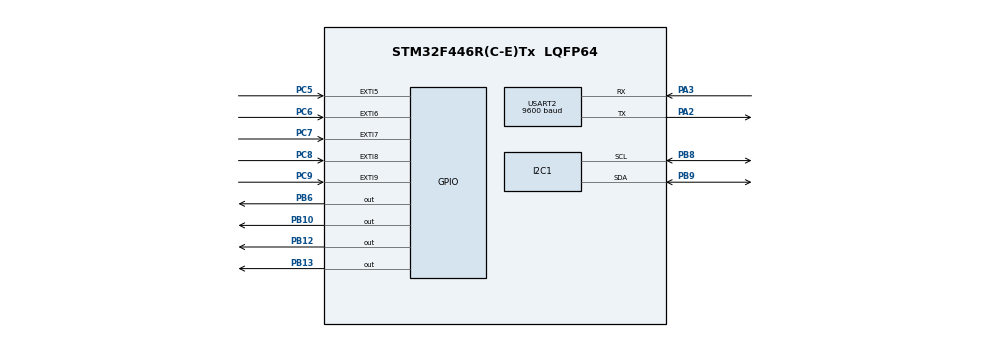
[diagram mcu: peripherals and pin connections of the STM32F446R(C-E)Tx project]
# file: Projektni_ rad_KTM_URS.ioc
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Mcu.Family=STM32F4
Mcu.Name=STM32F446R(C-E)Tx
Mcu.Package=LQFP64
NVIC.EXTI9_5_IRQn=true\:3\:0\:true\:false\:true\:true\:true\:true
NVIC.PriorityGroup=NVIC_PRIORITYGROUP_4
NVIC.TIM6_DAC_IRQn=true\:3\:0\:true\:false\:true\:true\:true\:true
PA13.Mode=Serial_Wire
PA13.Signal=SYS_JTMS-SWDIO
PA14.Mode=Serial_Wire
PA14.Signal=SYS_JTCK-SWCLK
PA2.Mode=Asynchronous
PA2.Signal=USART2_TX
PA3.Mode=Asynchronous
PA3.Signal=USART2_RX
PB10.GPIO_ModeDefaultOutputPP=GPIO_MODE_OUTPUT_OD
PB10.GPIO_PuPd=GPIO_NOPULL
PB10.Signal=GPIO_Output
PB12.GPIO_ModeDefaultOutputPP=GPIO_MODE_OUTPUT_OD
PB12.GPIO_PuPd=GPIO_NOPULL
PB12.Signal=GPIO_Output
PB13.GPIO_ModeDefaultOutputPP=GPIO_MODE_OUTPUT_OD
PB13.GPIO_PuPd=GPIO_NOPULL
PB13.Signal=GPIO_Output
PB6.GPIO_ModeDefaultOutputPP=GPIO_MODE_OUTPUT_OD
PB6.GPIO_PuPd=GPIO_NOPULL
PB6.Signal=GPIO_Output
PB8.Mode=I2C
PB8.Signal=I2C1_SCL
PB9.Mode=I2C
PB9.Signal=I2C1_SDA
PC5.GPIO_ModeDefaultEXTI=GPIO_MODE_IT_FALLING
PC5.GPIO_PuPd=GPIO_PULLUP
PC5.Signal=GPXTI5
PC6.GPIO_ModeDefaultEXTI=GPIO_MODE_IT_FALLING
PC6.GPIO_PuPd=GPIO_PULLUP
PC6.Signal=GPXTI6
PC7.GPIO_ModeDefaultEXTI=GPIO_MODE_IT_FALLING
PC7.GPIO_PuPd=GPIO_PULLUP
PC7.Signal=GPXTI7
PC8.GPIO_ModeDefaultEXTI=GPIO_MODE_IT_FALLING
PC8.GPIO_PuPd=GPIO_PULLUP
PC8.Signal=GPXTI8
PC9.GPIO_ModeDefaultEXTI=GPIO_MODE_IT_FALLING
PC9.GPIO_PuPd=GPIO_PULLUP
PC9.Signal=GPXTI9
ProjectManager.HeapSize=0x200
ProjectManager.StackSize=0x400
ProjectManager.TargetToolchain=STM32CubeIDE
RCC.CortexFreq_Value=16000000
RCC.USBFreq_Value=96000000
RCC.VCOOutputFreq_Value=192000000
TIM6.Period=99
TIM6.Prescaler=15999
USART2.BaudRate=9600
USART2.VirtualMode=VM_ASYNC
VP_TIM6_VS_ClockSourceINT.Mode=Enable_Timer
board=custom

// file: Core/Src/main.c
/* USER CODE BEGIN Header */
/**
  ******************************************************************************
  * @file           : main.c
  * @brief          : Main program body
  ******************************************************************************
  * @attention
  *
  * Copyright (c) 2025 STMicroelectronics.
  * All rights reserved.
  *
  * This software is licensed under terms that can be found in the LICENSE file
  * in the root directory of this software component.
  * If no LICENSE file comes with this software, it is provided AS-IS.
  *
  ******************************************************************************
  */
/* USER CODE END Header */
#include "main.h"
#include "i2c.h"
#include "tim.h"
#include "usart.h"
#include "gpio.h"

/* USER CODE BEGIN Includes */
#include <stdio.h>
#include <math.h>

#define	SMJER	GPIO_PIN_12	// NEMA 23 SMJER 12
#define	PULS	GPIO_PIN_13	// NEMA 23 PULS 13
#define SMJER1	GPIO_PIN_10	// NEMA 17 SMJER 10
#define PULS1	GPIO_PIN_6	// NEMA 17 PULS 6

#define	RAD_TO_DEG	57.297469 // pretvorba radijana u stupnjeve
#define DEG_TO_RAD	0.0174528 // pretvorba stupnjeva u radijane

#define	BRZINA_DELAY	25 // delay koji regulira brzinu koračnih motora

#define	KRAK	490 // duljina od osi NEMA 23 do osi NEMA 17
#define X0_U_X1	75	// pomak po osi x od ishodišta koord. sustava za unos do ishodišta k. sustava kretanja tereta
#define	Z0_U_Z1	-100	// pomak po osi z od ishodišta koord. sustava za unos do ishodišta k. sustava kretanja tereta
#define R_KOLOT	10	// radijus kolotura na NEMA 17 motoru
#define BLIZINA_DIZALICI	60 // najmanja sigurna vrijednost osi x bez kolizije s dizalicom
#define BLIZINA_MOTORU	50	// najveća sigurna udaljenost tereta od motora NEMA 17

#define	N23_1PULS_DEG	0.09	// iznos za koji se okrene reduktor za 1 puls NEMA 23 motora u stupnjevima
#define N17_1PULS_MM	0.1570796	// iznos pomaka tereta za jedan puls NEMA 17 motora u mm

#define	ADRESA	0x27	// I2C adresa PCF8754 modula
#define	SUCELJE	0x38	//
#define INITIAL	0x03
#define	BIT_4	0x02
#define	EKRAN_0	0x00
#define	CISTI	0x01
#define	KURSOR	0x04
#define	UKLJUCI	0x0F
#define	POCETAK	0x02

#define PRVA_L	0x80	// naredba postavljanje na prvi stupac u prvom retku LCD-a
#define	DRUGA_L	0xC0	// naredba postavljanje na prvi stupac u drugom retku LCD-a
#define	TRECA_L	0x94	// naredba postavljanje na prvi stupac u trećem retku LCD-a
#define CETVR_L	0xD4	// naredba postavljanje na prvi stupac u četvrtom retku LCD-a

#ifdef __GNUC__
#define PUTCHAR_PROTOTYPE int __io_putchar(int ch)
#define GETCHAR_PROTOTYPE int __io_getchar(void)
#else
#define PUTCHAR_PROTOTYPE int fputc(int ch, FILE *f)
#define GETCHAR_PROTOTYPE int fgetc(FILE *f)
#endif
PUTCHAR_PROTOTYPE	// slanje informacija preko USART2
{
	HAL_UART_Transmit(&huart2, (uint8_t*) &ch, 1, HAL_MAX_DELAY);
	return ch;
}
GETCHAR_PROTOTYPE	// prihvaćanje informacija preko USART2
{
	uint8_t ch = 0;
	__HAL_UART_CLEAR_OREFLAG(&huart2);
	HAL_UART_Receive(&huart2, (uint8_t*) &ch, 1, HAL_MAX_DELAY);
	return ch;
}
/* USER CODE END Includes */

/* USER CODE BEGIN PV */
static uint16_t pritisnut_pin = 0;	// varijabla koja prati koji je interrupt pin pritisnut
uint8_t zastava = 0;	// pomocna varijabla za kontroliranje dizalice
/* USER CODE END PV */

void SystemClock_Config(void);

/* USER CODE BEGIN 0 */
void broj_u_string(short broj, char *string, char tren_ili_cilj, char x_ili_z)
{
	if(!tren_ili_cilj)	// određuje je li se ispisuje tekst za trenutnu ili ciljanu koordinatu
	{
		string[0] = 'T';
		string[1] = 'R';
		string[2] = 'E';
		string[3] = 'N';
		string[4] = 'U';
		string[5] = 'T';
		string[6] = 'N';
		string[7] = 'I';
		string[8] = ' ';
		string[9] = (x_ili_z) ? 'Z' : 'X';	// određuje ispisuje li se za x ili z os
		string[10] = ':';
	}
	else
	{
		string[0] = 'C';
		string[1] = 'I';
		string[2] = 'L';
		string[3] = 'J';
		string[4] = 'A';
		string[5] = 'N';
		string[6] = 'I';
		string[7] = ' ';
		string[8] = (x_ili_z) ? 'Z' : 'X';
		string[9] = ':';
		string[10] = ' ';
	}

	for(int i = 11; i < 14; i++)	// ispisuje razmake u sredini
	{
		string[i] = ' ';
	}

	for(int i = 16; i >= 14; i--)	// pretvara brojeve u ASCII znakove i sprema ih u string
	{
		string[i] = (broj%10) + '0';
		broj /= 10;
	}

	string[17] = ' ';	// dodaje mm na kraju stringa
	string[18] = 'm';
	string[19] = 'm';
}

void lcd_naredba(char podatak)
{
	unsigned char podaci[4], hi, lo; // pomocne varijable za slanje naredbi na LCD

	hi = podatak & 0xF0;	// podjela bajta naredbe na nibbleove
	lo = (podatak << 4) & 0xF0;

	podaci[0] = hi | 0x0C;	// D7, D6, D5, D4, LED = 1, E = 1, R/!W = 0, RS = 0
	podaci[1] = hi | 0x08;	// D7, D6, D5, D4, LED = 1, E = 0, R/!W = 0, RS = 0
	podaci[2] = lo | 0x0C;	// D3, D2, D1, D0, LED = 1, E = 1, R/!W = 0, RS = 0
	podaci[3] = lo | 0x08;	// D3, D2, D1, D0, LED = 1, E = 0, R/!W = 0, RS = 0

	HAL_I2C_Master_Transmit(&hi2c1, ADRESA<<1, podaci, 4, 100); // slanje naredbe na LCD
}

void lcd_podatak(char podatak)
{
	unsigned char podaci[4], hi, lo; // pomocne varijable za slanje podatka na LCD

	hi = podatak & 0xF0;	// podjela bajta podatka na nibbleove
	lo = (podatak << 4) & 0xF0;

	podaci[0] = hi | 0x0D;	// D7, D6, D5, D4, LED = 1, E = 1, R/!W = 0, RS = 1
	podaci[1] = hi | 0x09;	// D7, D6, D5, D4, LED = 1, E = 0, R/!W = 0, RS = 1
	podaci[2] = lo | 0x0D;	// D3, D2, D1, D0, LED = 1, E = 1, R/!W = 0, RS = 1
	podaci[3] = lo | 0x09;	// D3, D2, D1, D0, LED = 1, E = 0, R/!W = 0, RS = 1

	HAL_I2C_Master_Transmit(&hi2c1, ADRESA<<1, podaci, 4, 100);	// slanje podatka na LCD
}

void lcd_string(char podatak[20], uint8_t red)
{
	switch (red){	// određuje u koji red treba doći
	case 1: lcd_naredba(PRVA_L); break;
	case 2: lcd_naredba(DRUGA_L); break;
	case 3: lcd_naredba(TRECA_L); break;
	case 4: lcd_naredba(CETVR_L); break;
	default: lcd_naredba(PRVA_L); break;
	}

	for(int i = 0; i < 20; i++){	// šalje svaki znak stringa na LCD
		lcd_podatak(podatak[i]);
	}

	HAL_Delay(5);
}

void nema23_korak_1_puls(char smjer) // 0.9 stupnja na motoru, 0.09 stupnja na reduktoru
{
	HAL_GPIO_WritePin(GPIOB, SMJER, smjer);	// određuje smjer motora
	HAL_Delay(1);
	HAL_GPIO_WritePin(GPIOB, PULS, 0);	// daje impuls upravljaču motora
	HAL_Delay(1);
	HAL_GPIO_WritePin(GPIOB, PULS, 1);
	HAL_Delay(1);

	HAL_Delay(BRZINA_DELAY);	// delay zbog ograničavanja brzine
}

void nema23_korak_1_deg(char smjer) // 9.9 stupnja na motoru, 0.99 stupnja na reduktoru
{
	HAL_GPIO_WritePin(GPIOB, SMJER, smjer);	// određuje smjer motora
	HAL_Delay(1);

	for(int i = 0; i < 11; i++)	// daje 11 impulsa upravljaču motora
	{
		HAL_GPIO_WritePin(GPIOB, PULS, 0);
		HAL_Delay(1);
		HAL_GPIO_WritePin(GPIOB, PULS, 1);
		HAL_Delay(1);

		HAL_Delay(BRZINA_DELAY);	// delay zbog ograničavanja brzine
	}
}

void nema17_korak_1_puls(char smjer) //	0.9 stupnja, 0.16 mm na koloturu
{
	HAL_GPIO_WritePin(GPIOB, SMJER1, smjer); // određuje smjer motora
	HAL_Delay(1);
	HAL_GPIO_WritePin(GPIOB, PULS1, 0);	// daje impuls upravljaču motora
	HAL_Delay(1);
	HAL_GPIO_WritePin(GPIOB, PULS1, 1);
	HAL_Delay(1);
}

void nema17_korak_1_mm(char smjer) // 5.4 stupnja, 0.94 mm na koloturu
{
	HAL_GPIO_WritePin(GPIOB, SMJER1, smjer);	// određuje smjer motora
	HAL_Delay(1);

	for(int i = 0; i < 6; i++) // daje 6 impulsa motoru
	{
		HAL_GPIO_WritePin(GPIOB, PULS1, 0);
		HAL_Delay(1);
		HAL_GPIO_WritePin(GPIOB, PULS1, 1);
		HAL_Delay(1);
	}

}

void unos_koordinata(float *x, float *z)	// unos x i z vrijednosti
{
	float provjera;	// pomocne varijable
	short x0, z0;

	do
	{
		printf("X = ");
		scanf("%hd", &x0);	// unos x vrijednosti
		printf("\nZ = ");
		scanf("%hd", &z0);	// unos z vrijednosti
		printf("\n");

		*x = (float)x0;	// pretvorba u float zbog precizonsti tijekom rada
		*z = (float)z0;

		if ((*z) + Z0_U_Z1 > 0)	// provjera valjanosti unesenih koordinata
		{
			provjera = sqrtf(powf(*x + X0_U_X1 - R_KOLOT,2)+powf(*z + Z0_U_Z1,2));
		}
		else
		{
			provjera = KRAK;
		}

	}
	while(provjera > KRAK || (*x) < BLIZINA_DIZALICI);
}

void nema23_v_dolaz_do_unosa(float *x_tren, float x_koord)
{
	float alfa_tren = acosf((*x_tren)/KRAK)*RAD_TO_DEG;	// pretvorba linearnih duljina u kuteve
	float alfa_koord = acosf(x_koord/KRAK)*RAD_TO_DEG;

	if (alfa_tren < alfa_koord)	// dolaz do željenog kuta
	{
		while (alfa_tren < alfa_koord)
		{
		  	nema23_korak_1_puls(1);
		  	alfa_tren += N23_1PULS_DEG;
		}
	}
	else if (alfa_tren > alfa_koord)
	{
		while (alfa_tren > alfa_koord)
		{
		  	nema23_korak_1_puls(0);
		  	alfa_tren -= N23_1PULS_DEG;
		}
	}

	*x_tren = KRAK*cosf(alfa_tren*DEG_TO_RAD);	// pretvorba trenutnog kuta u lin. duljinu
}

void nema17_dolaz_do_unosa_1(float *z_tren, float z_max_tren, float *tren)
{
	*tren = z_max_tren - (*z_tren);	// pretvorba duljine od podloge u duljinu od motora NEMA 17

	if (*tren > 100)
	{
		while (*tren > 100)	// dolaz do sigurne pozicije da se ne dogodi kolizija s podlogom
		{
			nema17_korak_1_puls(0);
		  	*tren -= N17_1PULS_MM;
		}
	}

	*z_tren = z_max_tren - (*tren);	// pretvorba natrag u duljinu od podloge
}

void nema17_dolaz_do_unosa_2(float *z_tren, float z_koord, float z_max, float *tren)
{
	float koord_2 = z_max - z_koord;	// pretvorba duljine od podloge u duljinu od motora NEMA 17

	if (*tren < koord_2)	// dolaz do željene pozicije
	{
		while (*tren < koord_2)
		{
			nema17_korak_1_puls(1);
		  	*tren += N17_1PULS_MM;

		}
	}
	else if (*tren > koord_2)
	{
		while (*tren > koord_2)
		{
			nema17_korak_1_puls(0);
		  	*tren -= N17_1PULS_MM;

		  	if(*tren < BLIZINA_MOTORU)	// zaštita od kolizije tereta s motorom NEMA 17
		  	{
		  		break;
		  	}
		}
	}

	*z_tren = z_max - (*tren);	// pretvorba natrag u duljinu od podloge
}

/* USER CODE END 0 */

int main(void)
{

  /* USER CODE BEGIN 1 */
	setvbuf(stdin, NULL, _IONBF, 0);
  /* USER CODE END 1 */

  /* MCU Configuration--------------------------------------------------------*/

  /* Reset of all peripherals, Initializes the Flash interface and the Systick. */
  HAL_Init();

  /* Configure the system clock */
  SystemClock_Config();

  /* Initialize all configured peripherals */
  MX_GPIO_Init();
  MX_I2C1_Init();
  MX_USART2_UART_Init();
  MX_TIM6_Init();
  /* USER CODE BEGIN 2 */

  /*######################################################################################
   *##########VARIJABLE - POCETAK#########################################################
   *###################################################################################### */

  char str[20];	// pomoćna varijabla za ispis stringa
  // sve varijable korištene za pozicioniranje tereta
  float r_tren, x0_koord, z0_koord, x1_koord, z1_koord, z_max_koord, z_max_tren, x0_tren, z0_tren, x1_tren, z1_tren;

  /*######################################################################################
   *##########VARIJABLE - KRAJ############################################################
   *###################################################################################### */

  /*######################################################################################
   *##########INICIJALIZACIJA LCD-a#######################################################
    ###################################################################################### */

  HAL_Delay(15);
  lcd_naredba(INITIAL);	// prve tri naredbe za inicijalizaciju

  HAL_Delay(5);
  lcd_naredba(INITIAL);

  HAL_Delay(1);
  lcd_naredba(INITIAL);

  HAL_Delay(1);
  lcd_naredba(BIT_4);	// konfiguracija LCD-a na 4-bitni mod

  lcd_naredba(SUCELJE);	// DL = 1, N = 1, F = 0, duljina podataka 8, 2 prikazne linije,  font 5x7

  lcd_naredba(CISTI);
  lcd_naredba(EKRAN_0);

  lcd_naredba(EKRAN_0);
  lcd_naredba(CISTI);

  lcd_naredba(KURSOR);	// ID = 0, S = 0, ne inkrementira pokazivač ni prikaz

  lcd_naredba(UKLJUCI);	// D = 1, C = 1, B = 1, uključi prikaz, pokazivač i blinkanje kursora

  HAL_Delay(5);

  lcd_naredba(POCETAK); // stavlja pokazivač na pocetak

  HAL_Delay(2);

  lcd_naredba(CISTI);	// pocisti LCD

  HAL_Delay(2);

/*######################################################################################
 *##########INICIJALIZACIJA ZAVRŠENA####################################################
  ###################################################################################### */

  unos_koordinata(&x0_tren, &z0_tren);	// unos početne pozicije tereta

  broj_u_string((short)x0_tren,str,0,0);	// slanje početne trenutne pozicije tereta
  lcd_string(str,1);
  broj_u_string((short)z0_tren,str,0,1);
  lcd_string(str,2);

  broj_u_string(0,str,1,0);	// slanje početne željenje pozicije tereta (0,0)
  lcd_string(str,3);
  broj_u_string(0,str,1,1);
  lcd_string(str,4);

  /* USER CODE END 2 */

  /* Infinite loop */
  while (1)
  {

    /* USER CODE BEGIN 3 */
	  	  if (zastava == 1)	// ulaz u automatski mod dizalice
	  	  {
	  		  unos_koordinata(&x0_koord, &z0_koord);	// unos željene pozicije tereta

	  		  broj_u_string((short)x0_koord,str,1,0);	// ispis željene pozicije tereta
	  		  lcd_string(str,3);
	  		  broj_u_string((short)z0_koord,str,1,1);
	  		  lcd_string(str,4);

	  		  x1_koord = x0_koord + X0_U_X1 - R_KOLOT;	// mijenjanje koordinatnog sustava
	  		  x1_tren = x0_tren + X0_U_X1 - R_KOLOT;
	  		  z1_koord = z0_koord + Z0_U_Z1;
	  		  z1_tren = z0_tren + Z0_U_Z1;

	  		  z_max_koord = KRAK*sinf(acosf(x1_koord/KRAK));	// izracun pozicije NEMA 17 motora
	  		  z_max_tren = KRAK*sinf(acosf(x1_tren/KRAK));

	  		  nema17_dolaz_do_unosa_1(&z1_tren, z_max_tren, &r_tren);	// prvotno dizanje tereta

	  		  nema23_v_dolaz_do_unosa(&x1_tren, x1_koord);	// dolaz do željene x pozicije

	  		  nema17_dolaz_do_unosa_2(&z1_tren, z1_koord, z_max_koord, &r_tren);	// dolaz do željene z pozicije

	  		  x0_tren = x1_tren - X0_U_X1 + R_KOLOT;	// mijenjanje koordinatnog sustava
	  		  z0_tren = z1_tren - Z0_U_Z1;

	  		  broj_u_string((short)x0_tren,str,0,0);	// ispis trenutnih vrijednosti nakon dolaska na željene koordinate
	  		  lcd_string(str,1);
	  		  broj_u_string((short)z0_tren,str,0,1);
	  		  lcd_string(str,2);

	  		  zastava = 0;
	  	  }
	  	  else if (zastava == 2)	// pomak NEMA 23 motora za 1 stupanj prema gore
	  	  {
	  		  nema23_korak_1_deg(1);

	  		  x1_tren = x0_tren + X0_U_X1 - R_KOLOT;	// izračun promjene x i z koordinati
	  		  z1_tren = z0_tren + Z0_U_Z1;
	  		  x1_tren = KRAK*cosf(acosf(x1_tren/KRAK) + 1*DEG_TO_RAD);
	  		  z1_tren = KRAK*sinf(asinf(z1_tren/KRAK) + 1*DEG_TO_RAD);
	  		  x0_tren = x1_tren - X0_U_X1 + R_KOLOT;
	  		  z0_tren = z1_tren - Z0_U_Z1;

	  		  broj_u_string((short)x0_tren,str,0,0);	// ispis promijenjenih x i z koordinate
	  		  lcd_string(str,1);
	  		  broj_u_string((short)z0_tren,str,0,1);
	  		  lcd_string(str,2);

	  		  zastava = 0;
	  	  }
	  	  else if (zastava == 3)	// pomak NEMA 23 motora za 1 stupanj prema dolje
	  	  {
	  		  nema23_korak_1_deg(0);

	  		  x1_tren = x0_tren + X0_U_X1 - R_KOLOT;	// izračun promjene x i z koordinati
	  		  z1_tren = z0_tren + Z0_U_Z1;
	  		  x1_tren = KRAK*cosf(acosf(x1_tren/KRAK) - 1*DEG_TO_RAD);
	  		  z1_tren = KRAK*sinf(asinf(z1_tren/KRAK) - 1*DEG_TO_RAD);
	  		  x0_tren = x1_tren - X0_U_X1 + R_KOLOT;
	  		  z0_tren = z1_tren - Z0_U_Z1;

	  		  broj_u_string((short)x0_tren,str,0,0);	// ispis promijenjenih x i z koordinati
	  		  lcd_string(str,1);
	  		  broj_u_string((short)z0_tren,str,0,1);
	  		  lcd_string(str,2);

	  		  zastava = 0;
	  	  }
	  	  else if (zastava == 4)	// pomak tereta za 1 milimetar prema gore
	  	  {
	  		  nema17_korak_1_mm(0);

	  		  z0_tren++;	// promjena z koordinate

	  		  broj_u_string((short)z0_tren,str,0,1);	// ispis promijenjene z koordinate
	  		  lcd_string(str,2);

	  		  zastava = 0;
	  	  }
	  	  else if (zastava == 5)	// pomak tereta za 1 milimetar prema dolje
	  	  {
	  		  nema17_korak_1_mm(1);

	  		  z0_tren--;	// promjena z koordinate

	  		  broj_u_string((short)z0_tren,str,0,1);	// ispis promijenjene z koordinate
	  		  lcd_string(str,2);

	  		  zastava = 0;
	  	  }
  }
  /* USER CODE END 3 */
}

void SystemClock_Config(void)
{
  RCC_OscInitTypeDef RCC_OscInitStruct = {0};
  RCC_ClkInitTypeDef RCC_ClkInitStruct = {0};

  /** Configure the main internal regulator output voltage
  */
  __HAL_RCC_PWR_CLK_ENABLE();
  __HAL_PWR_VOLTAGESCALING_CONFIG(PWR_REGULATOR_VOLTAGE_SCALE3);

  /** Initializes the RCC Oscillators according to the specified parameters
  * in the RCC_OscInitTypeDef structure.
  */
  RCC_OscInitStruct.OscillatorType = RCC_OSCILLATORTYPE_HSI;
  RCC_OscInitStruct.HSIState = RCC_HSI_ON;
  RCC_OscInitStruct.HSICalibrationValue = RCC_HSICALIBRATION_DEFAULT;
  RCC_OscInitStruct.PLL.PLLState = RCC_PLL_NONE;
  if (HAL_RCC_OscConfig(&RCC_OscInitStruct) != HAL_OK)
  {
    Error_Handler();
  }

  /** Initializes the CPU, AHB and APB buses clocks
  */
  RCC_ClkInitStruct.ClockType = RCC_CLOCKTYPE_HCLK|RCC_CLOCKTYPE_SYSCLK
                              |RCC_CLOCKTYPE_PCLK1|RCC_CLOCKTYPE_PCLK2;
  RCC_ClkInitStruct.SYSCLKSource = RCC_SYSCLKSOURCE_HSI;
  RCC_ClkInitStruct.AHBCLKDivider = RCC_SYSCLK_DIV1;
  RCC_ClkInitStruct.APB1CLKDivider = RCC_HCLK_DIV1;
  RCC_ClkInitStruct.APB2CLKDivider = RCC_HCLK_DIV1;

  if (HAL_RCC_ClockConfig(&RCC_ClkInitStruct, FLASH_LATENCY_0) != HAL_OK)
  {
    Error_Handler();
  }
}

/* USER CODE BEGIN 4 */
void HAL_GPIO_EXTI_Callback(uint16_t GPIO_Pin)
{
	pritisnut_pin = GPIO_Pin;	// saznaje koji je pin pokrenuo interrupt

	__HAL_TIM_CLEAR_IT(&htim6,TIM_IT_UPDATE);	// micanje interrupta s početka countera
	HAL_TIM_Base_Start_IT(&htim6);	// pokreće counter
}
void HAL_TIM_PeriodElapsedCallback(TIM_HandleTypeDef *htim)
{
	if (htim->Instance == TIM6)
	{
		if (HAL_GPIO_ReadPin(GPIOC, pritisnut_pin) == GPIO_PIN_RESET)
		{	// daje vrijednost zastavici ovisno o tome koji je pin pritisnut
			switch (pritisnut_pin)
			{
				case (GPIO_PIN_5): zastava = 1; break;
				case (GPIO_PIN_6): zastava = 2; break;
				case (GPIO_PIN_7): zastava = 3; break;
				case (GPIO_PIN_8): zastava = 4; break;
				case (GPIO_PIN_9): zastava = 5; break;
			}
		}
		HAL_TIM_Base_Stop_IT(&htim6);	// zaustavlja counter
	}
}
/* USER CODE END 4 */

void Error_Handler(void)
{
  __disable_irq();
  while (1)
  {
  }
}
